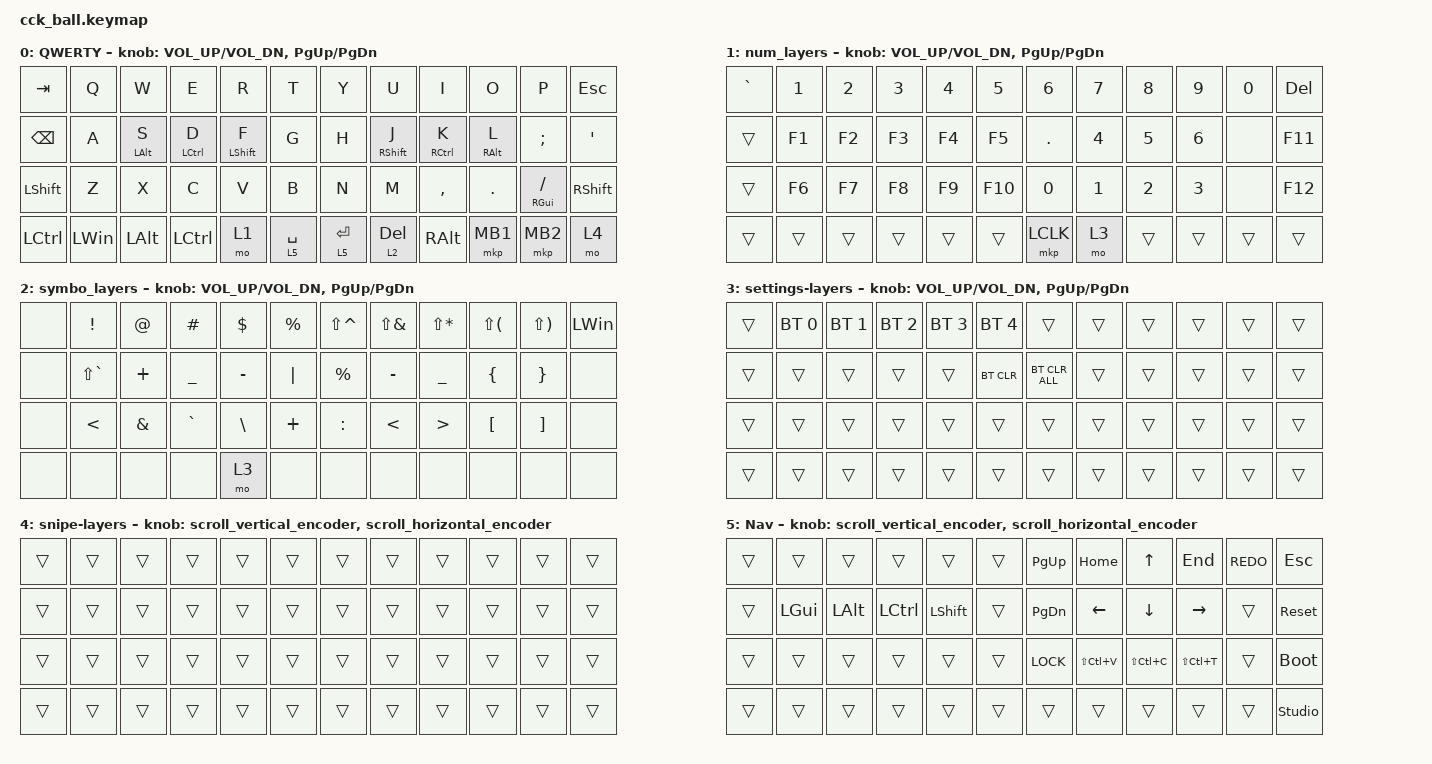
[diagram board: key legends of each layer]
#define ZMK_POINTING_DEFAULT_MOVE_VAL 1000 // 600
#define ZMK_POINTING_DEFAULT_SCRL_VAL 12   // 10

#include <input/processors.dtsi>
#include <zephyr/dt-bindings/input/input-event-codes.h>
#include <behaviors.dtsi>
#include <dt-bindings/zmk/bt.h>
#include <dt-bindings/zmk/keys.h>
#include <dt-bindings/zmk/pointing.h>

&lt { quick-tap-ms = <200>; };
&mt { quick-tap-ms = <200>; };

&mmv_input_listener { input-processors = <&zip_xy_scaler 2 1>; };

&msc_input_listener { input-processors = <&zip_scroll_scaler 2 1>; };

&msc {
    acceleration-exponent = <0>;      // 0
    time-to-max-speed-ms = <400>;       // 300
    delay-ms = <0>;                   // 0
};

&mmv {
    time-to-max-speed-ms = <500>;
    acceleration-exponent = <1>;
    trigger-period-ms = <16>;
};

&soft_off { hold-time-ms = <2000>; };

/ {
    // 上下滚动编码器行为

    scroll_vertical_encoder: scroll_vertical_encoder {
        compatible = "zmk,behavior-sensor-rotate";
        #sensor-binding-cells = <0>;
        bindings = <&msc SCRL_DOWN>, <&msc SCRL_UP>;

        tap-ms = <100>;
    };

    // 左右滚动编码器行为

    scroll_horizontal_encoder: scroll_horizontal_encoder {
        compatible = "zmk,behavior-sensor-rotate";
        #sensor-binding-cells = <0>;
        bindings = <&msc SCRL_LEFT>, <&msc SCRL_RIGHT>;

        tap-ms = <100>;
    };

    behaviors {
        hrm_left: hrm_left {
            compatible = "zmk,behavior-hold-tap";
            label = "HRM_LEFT";
            bindings = <&kp>, <&kp>;

            #binding-cells = <2>;
            flavor = "balanced";
            tapping-term-ms = <280>;
            quick-tap-ms = <175>;
            require-prior-idle-ms = <175>;
            hold-trigger-on-release;
            hold-trigger-key-positions = <6 7 20 21 22 35 45 46 47 8 9 10 11 23 19 34 44 43 42 33 32 31 30 18>;
        };

        hrm_right: hrm_right {
            compatible = "zmk,behavior-hold-tap";
            label = "HRM_RIGHT";
            bindings = <&kp>, <&kp>;

            #binding-cells = <2>;
            flavor = "balanced";
            tapping-term-ms = <280>;
            quick-tap-ms = <175>;
            require-prior-idle-ms = <175>;
            hold-trigger-on-release;
            hold-trigger-key-positions = <0 1 2 3 4 5 13 14 15 16 17 28 29 41 40 39 27 26 25 24 12 36 37 38>;
        };
        layer_tap: layer_tap {
            compatible = "zmk,behavior-hold-tap";
            label = "LAYER_TAP";
            bindings = <&mo>, <&kp>;

            #binding-cells = <2>;
            quick-tap-ms = <175>;
            flavor = "tap-preferred";
            tapping-term-ms = <280>;
        };
    };

    keymap {
        compatible = "zmk,keymap";

        QWERTY {
            bindings = <
&kp TAB           &kp Q         &kp W                 &kp E                     &kp R                   &kp T        &kp Y        &kp U                     &kp I                       &kp O                   &kp P                       &kp ESC
&kp BACKSPACE     &kp A         &hrm_left LEFT_ALT S  &hrm_left LEFT_CONTROL D  &hrm_left LEFT_SHIFT F  &kp G        &kp H        &hrm_right RIGHT_SHIFT J  &hrm_right RIGHT_CONTROL K  &hrm_right RIGHT_ALT L  &kp SEMI                    &kp SQT
&kp LEFT_SHIFT    &kp Z         &kp X                 &kp C                     &kp V                   &kp B        &kp N        &kp M                     &kp COMMA                   &kp DOT                 &hrm_right RIGHT_GUI SLASH  &kp RIGHT_SHIFT
&kp LEFT_CONTROL  &kp LEFT_WIN  &kp LEFT_ALT          &kp LEFT_CONTROL          &mo 1                   &lt 5 SPACE  &lt 5 ENTER  &lt 2 DELETE              &kp RIGHT_ALT               &mkp MB1                &mkp MB2                    &mo 4
            >;

            sensor-bindings = <&inc_dec_kp C_VOL_UP C_VOL_DN &inc_dec_kp PG_UP PG_DN>;
        };

        num_layers {
            bindings = <
&kp GRAVE  &kp N1  &kp N2  &kp N3  &kp N4  &kp N5   &kp N6        &kp N7        &kp N8        &kp N9        &kp N0  &kp DEL
&trans     &kp F1  &kp F2  &kp F3  &kp F4  &kp F5   &kp PERIOD    &kp NUMBER_4  &kp NUMBER_5  &kp NUMBER_6  &none   &kp F11
&trans     &kp F6  &kp F7  &kp F8  &kp F9  &kp F10  &kp NUMBER_0  &kp NUMBER_1  &kp NUMBER_2  &kp NUMBER_3  &none   &kp F12
&trans     &trans  &trans  &trans  &trans  &trans   &mkp LCLK     &mo 3         &trans        &trans        &trans  &trans
            >;

            sensor-bindings = <&inc_dec_kp C_VOL_UP C_VOL_DN &inc_dec_kp PG_UP PG_DN>;
        };

        symbo_layers {
            bindings = <
&none  &kp EXCL       &kp AT         &kp HASH        &kp DOLLAR     &kp PERCENT  &kp LS(CARET)  &kp LS(AMPS)   &kp LS(STAR)      &kp LS(LPAR)      &kp LS(RPAR)       &kp LEFT_WIN
&none  &kp LS(GRAVE)  &kp PLUS       &kp UNDERSCORE  &kp MINUS      &kp PIPE     &kp PERCENT    &kp MINUS      &kp UNDERSCORE    &kp LEFT_BRACE    &kp RIGHT_BRACE    &none
&none  &kp LESS_THAN  &kp AMPERSAND  &kp GRAVE       &kp BACKSLASH  &kp PLUS     &kp COLON      &kp LESS_THAN  &kp GREATER_THAN  &kp LEFT_BRACKET  &kp RIGHT_BRACKET  &none
&none  &none          &none          &none           &mo 3          &none        &none          &none          &none             &none             &none              &none
            >;

            sensor-bindings = <&inc_dec_kp C_VOL_UP C_VOL_DN &inc_dec_kp PG_UP PG_DN>;
        };

        settings-layers {
            bindings = <
&trans  &bt BT_SEL 0  &bt BT_SEL 1  &bt BT_SEL 2  &bt BT_SEL 3  &bt BT_SEL 4  &trans          &trans  &trans  &trans  &trans  &trans
&trans  &trans        &trans        &trans        &trans        &bt BT_CLR    &bt BT_CLR_ALL  &trans  &trans  &trans  &trans  &trans
&trans  &trans        &trans        &trans        &trans        &trans        &trans          &trans  &trans  &trans  &trans  &trans
&trans  &trans        &trans        &trans        &trans        &trans        &trans          &trans  &trans  &trans  &trans  &trans
            >;

            sensor-bindings = <&inc_dec_kp C_VOL_UP C_VOL_DN &inc_dec_kp PG_UP PG_DN>;
        };

        snipe-layers {
            bindings = <
&trans  &trans  &trans  &trans  &trans  &trans  &trans  &trans  &trans  &trans  &trans  &trans
&trans  &trans  &trans  &trans  &trans  &trans  &trans  &trans  &trans  &trans  &trans  &trans
&trans  &trans  &trans  &trans  &trans  &trans  &trans  &trans  &trans  &trans  &trans  &trans
&trans  &trans  &trans  &trans  &trans  &trans  &trans  &trans  &trans  &trans  &trans  &trans
            >;

            sensor-bindings =
                <&scroll_vertical_encoder>,
                // 编码器1：上下滚动,,,,,,,,,,
                <&scroll_horizontal_encoder>;

            // 编码器2：左右滚动
        };

        Nav {
            bindings = <
&trans  &trans        &trans        &trans            &trans          &trans  &kp PAGE_UP    &kp HOME       &kp UP         &kp END        &kp K_REDO  &kp ESCAPE
&trans  &kp LEFT_GUI  &kp LEFT_ALT  &kp LEFT_CONTROL  &kp LEFT_SHIFT  &trans  &kp PAGE_DOWN  &kp LEFT       &kp DOWN       &kp RIGHT      &trans      &sys_reset
&trans  &trans        &trans        &trans            &trans          &trans  &kp K_LOCK     &kp LS(LC(V))  &kp LS(LC(C))  &kp LS(LC(T))  &trans      &bootloader
&trans  &trans        &trans        &trans            &trans          &trans  &trans         &trans         &trans         &trans         &trans      &studio_unlock
            >;

            sensor-bindings =
                <&scroll_vertical_encoder>,
                <&scroll_horizontal_encoder>;
        };
    };
};
